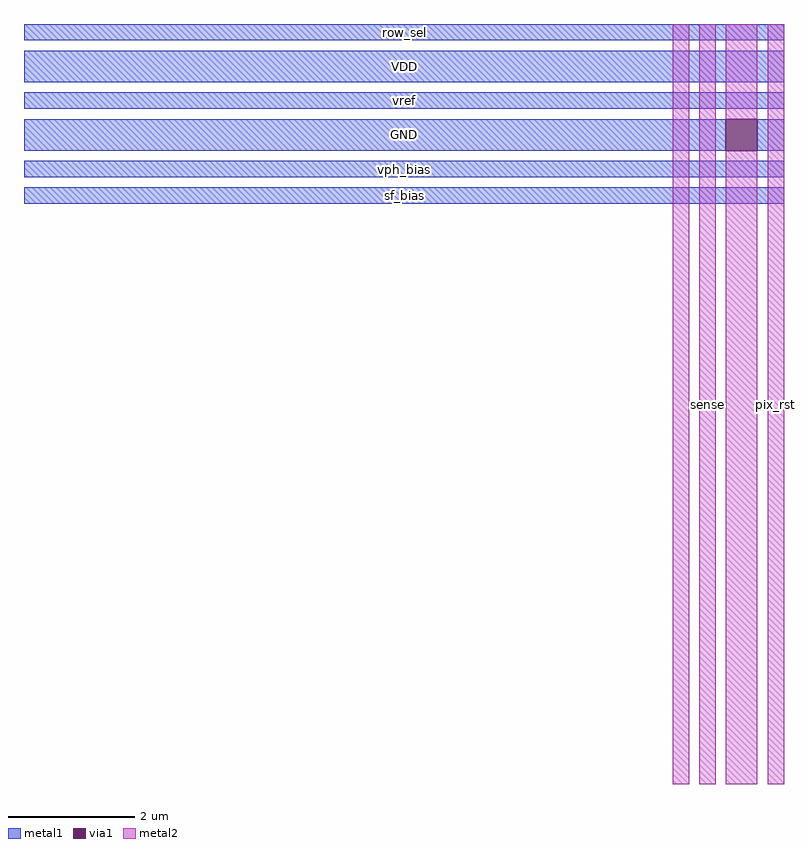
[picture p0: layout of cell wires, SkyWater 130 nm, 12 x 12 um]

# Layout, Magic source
magic
tech sky130A
<< metal1 >>
rect 0 1174 1200 1200
rect 0 1108 1200 1158
rect 0 1066 1200 1092
rect 0 1000 1108 1050
rect 1158 1000 1200 1050
rect 0 958 1200 984
rect 0 916 1200 942
<< via1 >>
rect 1108 1000 1158 1050
<< metal2 >>
rect 1024 0 1050 1200
rect 1066 0 1092 1200
rect 1108 1050 1158 1200
rect 1108 0 1158 1000
rect 1174 0 1200 1200
<< labels >>
flabel metal1 0 1000 1200 1050 0 FreeSans 100 0 0 0 GND
port 0 ew
flabel metal1 0 1108 1200 1158 0 FreeSans 100 0 0 0 VDD
port 1 ew
flabel metal1 0 958 1200 984 0 FreeSans 100 0 0 0 vph_bias
port 2 ew
flabel metal1 0 916 1200 942 0 FreeSans 100 0 0 0 sf_bias
port 3 ew
flabel metal1 0 1066 1200 1092 0 FreeSans 100 0 0 0 vref
port 4 ew
flabel metal1 0 1174 1200 1200 0 FreeSans 100 0 0 0 row_sel
port 5 ew
flabel metal2 1066 0 1092 1200 0 FreeSans 100 90 0 0 sense
port 6 ns
flabel metal2 1024 0 1050 1200 0 FreeSans 100 90 0 0 feedback
port 7 ns
flabel metal2 1174 0 1200 1200 0 FreeSans 100 90 0 0 pix_rst
port 8 ns
<< end >>
